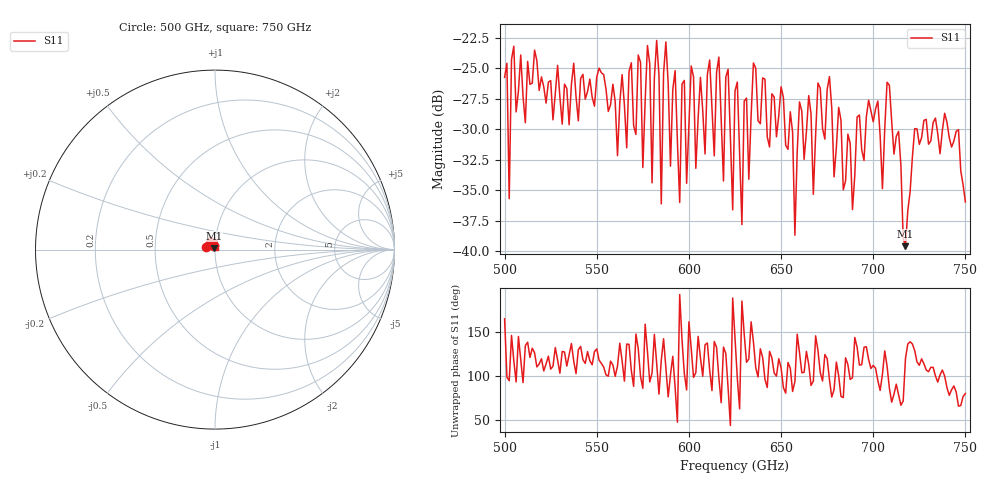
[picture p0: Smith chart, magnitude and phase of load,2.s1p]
!Created with mwavepy.
# GHz S RI R 50.0
!freq	ReS11	ImS11
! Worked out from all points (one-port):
!   201 points, 500 GHz to 750 GHz, reference 50 ohm
!   lowest |S11| = -39.6 dB at 717.5 GHz (marker M1), VSWR 1.02, Z = 49.5 + j0.897 ohm
!   |S11| at or under -10 dB: start of sweep to end of sweep
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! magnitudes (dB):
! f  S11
! 500 GHz  -25.7
! 502.5 GHz  -35.7
! 505 GHz  -23.2
! 531.2 GHz  -29.6
! 562.5 GHz  -27.8
! 572.5 GHz  -23.9
! 575 GHz  -33.1
! 577.5 GHz  -23.1
! 580 GHz  -34.4
! 582.5 GHz  -22.7
! 585 GHz  -36.1
! 587.5 GHz  -22.8
! 593.8 GHz  -31.0
! 616.2 GHz  -24.1
! 623.8 GHz  -36.6
! 625 GHz  -26.9
! 628.8 GHz  -37.8
! 635 GHz  -24.6
! 656.2 GHz  -30.2
! 657.5 GHz  -38.7
! 660 GHz  -27.8
! 687.5 GHz  -31.2
! 705 GHz  -34.9
! 708.8 GHz  -26.4
! 717.5 GHz  -39.6
! 718.8 GHz  -36.7
! 738.8 GHz  -28.7
! 750 GHz  -36.0
